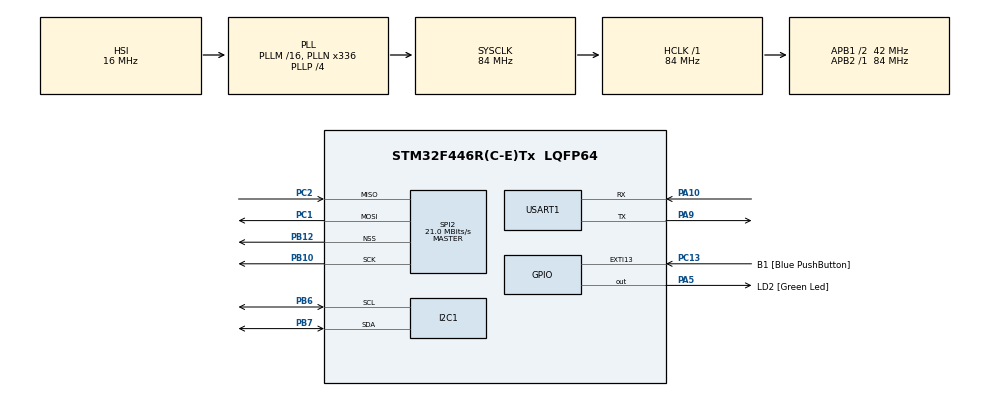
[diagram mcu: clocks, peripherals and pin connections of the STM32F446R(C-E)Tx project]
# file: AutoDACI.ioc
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Mcu.Family=STM32F4
Mcu.Name=STM32F446R(C-E)Tx
Mcu.Package=LQFP64
NVIC.PriorityGroup=NVIC_PRIORITYGROUP_0
PA10.Mode=Asynchronous
PA10.Signal=USART1_RX
PA13.GPIO_Label=TMS
PA13.Mode=Serial_Wire
PA13.Signal=SYS_JTMS-SWDIO
PA14.GPIO_Label=TCK
PA14.Mode=Serial_Wire
PA14.Signal=SYS_JTCK-SWCLK
PA2.GPIO_Label=USART_TX
PA2.Signal=USART2_TX
PA3.GPIO_Label=USART_RX
PA3.Signal=USART2_RX
PA5.GPIO_Label=LD2 [Green Led]
PA5.Signal=GPIO_Output
PA9.Mode=Asynchronous
PA9.Signal=USART1_TX
PB10.Mode=Full_Duplex_Master
PB10.Signal=SPI2_SCK
PB12.Mode=NSS_Signal_Hard_Output
PB12.Signal=SPI2_NSS
PB3.GPIO_Label=SWO
PB3.Signal=SYS_JTDO-SWO
PB6.Mode=I2C
PB6.Signal=I2C1_SCL
PB7.Mode=I2C
PB7.Signal=I2C1_SDA
PC1.Mode=Full_Duplex_Master
PC1.Signal=SPI2_MOSI
PC13.GPIO_Label=B1 [Blue PushButton]
PC13.GPIO_ModeDefaultEXTI=GPIO_MODE_IT_FALLING
PC13.Signal=GPXTI13
PC14-OSC32_IN.Mode=LSE-External-Oscillator
PC14-OSC32_IN.Signal=RCC_OSC32_IN
PC15-OSC32_OUT.Mode=LSE-External-Oscillator
PC15-OSC32_OUT.Signal=RCC_OSC32_OUT
PC2.Mode=Full_Duplex_Master
PC2.Signal=SPI2_MISO
PH0-OSC_IN.Mode=HSE-External-Oscillator
PH0-OSC_IN.Signal=RCC_OSC_IN
PH1-OSC_OUT.Mode=HSE-External-Oscillator
PH1-OSC_OUT.Signal=RCC_OSC_OUT
ProjectManager.HeapSize=0x200
ProjectManager.StackSize=0x400
ProjectManager.TargetToolchain=Makefile
RCC.48MHZClocksFreq_Value=84000000
RCC.AHBFreq_Value=84000000
RCC.APB1CLKDivider=RCC_HCLK_DIV2
RCC.APB1Freq_Value=42000000
RCC.APB1TimFreq_Value=84000000
RCC.APB2Freq_Value=84000000
RCC.APB2TimFreq_Value=84000000
RCC.CortexFreq_Value=84000000
RCC.FLatency-AdvancedSettings=FLASH_LATENCY_2
RCC.HCLKFreq_Value=84000000
RCC.HSE_VALUE=8000000
RCC.HSI_VALUE=16000000
RCC.PLLN=336
RCC.PLLP=RCC_PLLP_DIV4
RCC.SYSCLKFreq_VALUE=84000000
RCC.SYSCLKSource=RCC_SYSCLKSOURCE_PLLCLK
RCC.USBFreq_Value=168000000
RCC.VCOOutputFreq_Value=336000000
SPI2.CalculateBaudRate=21.0 MBits/s
SPI2.Direction=SPI_DIRECTION_2LINES
SPI2.Mode=SPI_MODE_MASTER
SPI2.VirtualNSS=VM_NSSHARD
SPI2.VirtualType=VM_MASTER
USART1.VirtualMode=VM_ASYNC
board=NUCLEO-F446RE

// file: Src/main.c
/* USER CODE BEGIN Header */
/**
  ******************************************************************************
  * @file           : main.c
  * @brief          : Main program body
  ******************************************************************************
  * @attention
  *
  * <h2><center>&copy; Copyright (c) 2019 STMicroelectronics.
  * All rights reserved.</center></h2>
  *
  * This software component is licensed by ST under BSD 3-Clause license,
  * the "License"; You may not use this file except in compliance with the
  * License. You may obtain a copy of the License at:
  *                        opensource.org/licenses/BSD-3-Clause
  *
  ******************************************************************************
  */
/* USER CODE END Header */

#include "main.h"

/* USER CODE BEGIN Includes */
#include "motioncontrol.h"
/* USER CODE END Includes */

I2C_HandleTypeDef hi2c1;

SPI_HandleTypeDef hspi2;

UART_HandleTypeDef huart1;

Motor_HandleTypeDef m_rotation_handle = {
		.motor=ROTATION,
		.direction=CW,
		.stepsize=8,
		// Motor Step/Dir control
		.GPIO_Step_Port=GPIOC,
		.GPIO_Step_Pin=GPIO_PIN_0,
		.GPIO_Dir_Port=GPIOA,
		.GPIO_Dir_Pin=GPIO_PIN_8,
		// SPI Communication
		.GPIO_SS_Port=GPIOC,
		.GPIO_SS_Pin=GPIO_PIN_3
};

void SystemClock_Config(void);
static void MX_GPIO_Init(void);
//static void MX_TIM2_Init(void);
static void MX_I2C1_Init(void);
static void MX_SPI2_Init(void);
static void MX_USART1_UART_Init(void);

/* USER CODE BEGIN 0 */
//void toggle_light();
/* USER CODE END 0 */

int main(void)
{

  /* MCU Configuration--------------------------------------------------------*/

  /* Reset of all peripherals, Initializes the Flash interface and the Systick. */
  HAL_Init();

  /* Configure the system clock */
  SystemClock_Config();

  /* Initialize all configured peripherals */
  MX_GPIO_Init();
  MX_I2C1_Init();
  MX_SPI2_Init();
  MX_USART1_UART_Init();
  /* USER CODE BEGIN 2 */

  // Initialize the motors

  motor_init(&m_rotation_handle);

  /* USER CODE END 2 */

  /* Infinite loop */
  /* USER CODE BEGIN WHILE */

  while (0xDEADBEEF)
  {
/* USER CODE END WHILE */
//	  rotate_right(&m_rotation_handle, 200, MEDIUM);
//	  HAL_Delay(2000);
//	  rotate_left(&m_rotation_handle, 200, MEDIUM);
//	  HAL_Delay(2000);

//	  rotate_right(ROTATION, 2, FAST);
//	  rotate_right(ROTATION, 2, FAST);
//	  rotate_right(ROTATION, 2, FAST);
	  //HAL_Delay(1000);
/* USER CODE BEGIN 3 */
    /* USER CODE END WHILE */

    /* USER CODE BEGIN 3 */
	  //UART Receive code
	//uint8_t pData[1];
	//HAL_UART_Receive(&huart1, pData, 1, UINT32_MAX);
  }
  /* USER CODE END 3 */
}

void SystemClock_Config(void)
{
  RCC_OscInitTypeDef RCC_OscInitStruct = {0};
  RCC_ClkInitTypeDef RCC_ClkInitStruct = {0};

  /** Configure the main internal regulator output voltage
  */
  __HAL_RCC_PWR_CLK_ENABLE();
  __HAL_PWR_VOLTAGESCALING_CONFIG(PWR_REGULATOR_VOLTAGE_SCALE3);
  /** Initializes the CPU, AHB and APB busses clocks
  */
  RCC_OscInitStruct.OscillatorType = RCC_OSCILLATORTYPE_HSI;
  RCC_OscInitStruct.HSIState = RCC_HSI_ON;
  RCC_OscInitStruct.HSICalibrationValue = RCC_HSICALIBRATION_DEFAULT;
  RCC_OscInitStruct.PLL.PLLState = RCC_PLL_ON;
  RCC_OscInitStruct.PLL.PLLSource = RCC_PLLSOURCE_HSI;
  RCC_OscInitStruct.PLL.PLLM = 16;
  RCC_OscInitStruct.PLL.PLLN = 336;
  RCC_OscInitStruct.PLL.PLLP = RCC_PLLP_DIV4;
  RCC_OscInitStruct.PLL.PLLQ = 2;
  RCC_OscInitStruct.PLL.PLLR = 2;
  if (HAL_RCC_OscConfig(&RCC_OscInitStruct) != HAL_OK)
  {
    Error_Handler();
  }
  /** Initializes the CPU, AHB and APB busses clocks
  */
  RCC_ClkInitStruct.ClockType = RCC_CLOCKTYPE_HCLK|RCC_CLOCKTYPE_SYSCLK
                              |RCC_CLOCKTYPE_PCLK1|RCC_CLOCKTYPE_PCLK2;
  RCC_ClkInitStruct.SYSCLKSource = RCC_SYSCLKSOURCE_PLLCLK;
  RCC_ClkInitStruct.AHBCLKDivider = RCC_SYSCLK_DIV1;
  RCC_ClkInitStruct.APB1CLKDivider = RCC_HCLK_DIV2;
  RCC_ClkInitStruct.APB2CLKDivider = RCC_HCLK_DIV1;

  if (HAL_RCC_ClockConfig(&RCC_ClkInitStruct, FLASH_LATENCY_2) != HAL_OK)
  {
    Error_Handler();
  }
}

static void MX_I2C1_Init(void)
{

  hi2c1.Instance = I2C1;
  hi2c1.Init.ClockSpeed = 100000;
  hi2c1.Init.DutyCycle = I2C_DUTYCYCLE_2;
  hi2c1.Init.OwnAddress1 = 0;
  hi2c1.Init.AddressingMode = I2C_ADDRESSINGMODE_7BIT;
  hi2c1.Init.DualAddressMode = I2C_DUALADDRESS_DISABLE;
  hi2c1.Init.OwnAddress2 = 0;
  hi2c1.Init.GeneralCallMode = I2C_GENERALCALL_DISABLE;
  hi2c1.Init.NoStretchMode = I2C_NOSTRETCH_DISABLE;
  if (HAL_I2C_Init(&hi2c1) != HAL_OK)
  {
    Error_Handler();
  }

}

static void MX_SPI2_Init(void)
{

  /* SPI2 parameter configuration*/
  hspi2.Instance = SPI2;
  hspi2.Init.Mode = SPI_MODE_MASTER;
  hspi2.Init.Direction = SPI_DIRECTION_2LINES;
  hspi2.Init.DataSize = SPI_DATASIZE_8BIT;
  hspi2.Init.CLKPolarity = SPI_POLARITY_HIGH;
  hspi2.Init.CLKPhase = SPI_PHASE_2EDGE;
  hspi2.Init.NSS = SPI_NSS_HARD_OUTPUT;
  hspi2.Init.BaudRatePrescaler = SPI_BAUDRATEPRESCALER_256;
  hspi2.Init.FirstBit = SPI_FIRSTBIT_MSB;
  hspi2.Init.TIMode = SPI_TIMODE_DISABLE;
  hspi2.Init.CRCCalculation = SPI_CRCCALCULATION_DISABLE;
  hspi2.Init.CRCPolynomial = 10;
  if (HAL_SPI_Init(&hspi2) != HAL_OK)
  {
    Error_Handler();
  }

}

static void MX_USART1_UART_Init(void)
{

  huart1.Instance = USART1;
  huart1.Init.BaudRate = 115200;
  huart1.Init.WordLength = UART_WORDLENGTH_8B;
  huart1.Init.StopBits = UART_STOPBITS_1;
  huart1.Init.Parity = UART_PARITY_NONE;
  huart1.Init.Mode = UART_MODE_TX_RX;
  huart1.Init.HwFlowCtl = UART_HWCONTROL_NONE;
  huart1.Init.OverSampling = UART_OVERSAMPLING_16;
  if (HAL_UART_Init(&huart1) != HAL_OK)
  {
    Error_Handler();
  }
  /* USER CODE BEGIN USART1_Init 2 */

  USART1->CR1 |= USART_CR1_RXNEIE;
  NVIC_SetPriority(USART1_IRQn, NVIC_EncodePriority(4,1,0));
  NVIC_EnableIRQ(USART1_IRQn);
  /* USER CODE END USART1_Init 2 */

}

static void MX_GPIO_Init(void)
{

	GPIO_InitTypeDef GPIO_InitStruct = {0};

	/* GPIO Ports Clock Enable */
	__HAL_RCC_GPIOC_CLK_ENABLE();
	__HAL_RCC_GPIOH_CLK_ENABLE();
	__HAL_RCC_GPIOA_CLK_ENABLE();
	__HAL_RCC_GPIOB_CLK_ENABLE();

	/*Configure GPIO pin Output Level */
	HAL_GPIO_WritePin(LD2_GPIO_Port, LD2_Pin, GPIO_PIN_RESET);

	/*Configure GPIO pin : B1_Pin */
	GPIO_InitStruct.Pin = B1_Pin;
	GPIO_InitStruct.Mode = GPIO_MODE_IT_FALLING;
	GPIO_InitStruct.Pull = GPIO_NOPULL;
	HAL_GPIO_Init(B1_GPIO_Port, &GPIO_InitStruct);

	/*Configure GPIO pin : LD2_Pin */
	GPIO_InitStruct.Pin = LD2_Pin;
	GPIO_InitStruct.Mode = GPIO_MODE_OUTPUT_PP;
	GPIO_InitStruct.Pull = GPIO_NOPULL;
	GPIO_InitStruct.Speed = GPIO_SPEED_FREQ_LOW;
	HAL_GPIO_Init(LD2_GPIO_Port, &GPIO_InitStruct);

	// Slave select pin (set high, active low)
	GPIO_InitTypeDef SS_InitStruct = {0};
	SS_InitStruct.Pin = GPIO_PIN_3;
	SS_InitStruct.Mode = GPIO_MODE_OUTPUT_PP;
	SS_InitStruct.Pull = GPIO_NOPULL;
	SS_InitStruct.Speed = GPIO_SPEED_FREQ_VERY_HIGH;
	HAL_GPIO_Init(GPIOC, &SS_InitStruct);
	HAL_GPIO_WritePin( GPIOC, GPIO_PIN_3, GPIO_PIN_SET );

}

/* USER CODE BEGIN 4 */
/* USER CODE BEGIN 4 */

//TODO If we want to enable timers later we will need a similiar process to this.
//static void MX_TIM2_Init(void)
//{
//	/* Enable clock for TIM2 peripheral */
//	RCC->APB1ENR = RCC_APB1ENR_TIM2EN;
//
//	/* Configure TIM2: buffer auto-reload, count up, stop on overflow,
//	 * enable update events, interrupt on overflow only */
//	TIM2->CR1 = ((uint16_t)0x8C);
//
//	/* Set clock prescaler value */
// 	TIM2->PSC = myTIM2_PRESCALER;
//
// 	/* Set auto-reloaded delay */
// 	TIM2->ARR = myTIM2_PERIOD;
//
// 	/* Update timer registers */
// 	TIM2->EGR = TIM_EGR_UG;
//}

void light_on()
{
	HAL_GPIO_WritePin(GPIOA, GPIO_PIN_5, GPIO_PIN_SET);
}

void light_off()
{
	HAL_GPIO_WritePin(GPIOA, GPIO_PIN_5, GPIO_PIN_RESET);
}

void USART1_IRQHandler(void)
{
#define RECEIVE_X_BYTES 1
	uint8_t uart_cmd[1];
	uart_cmd[0] = 0;
	HAL_UART_Receive(&huart1, uart_cmd, RECEIVE_X_BYTES, UINT32_MAX);
	if (uart_cmd[0] & 0x01) {
		light_on();
		  rotate_right(&m_rotation_handle, 5, FAST);

	} else {
		light_off();
		rotate_left(&m_rotation_handle, 5, FAST);
	}
}

/* USER CODE END 4 */

void Error_Handler(void)
{
}

/************************ (C) COPYRIGHT STMicroelectronics *****END OF FILE****/
